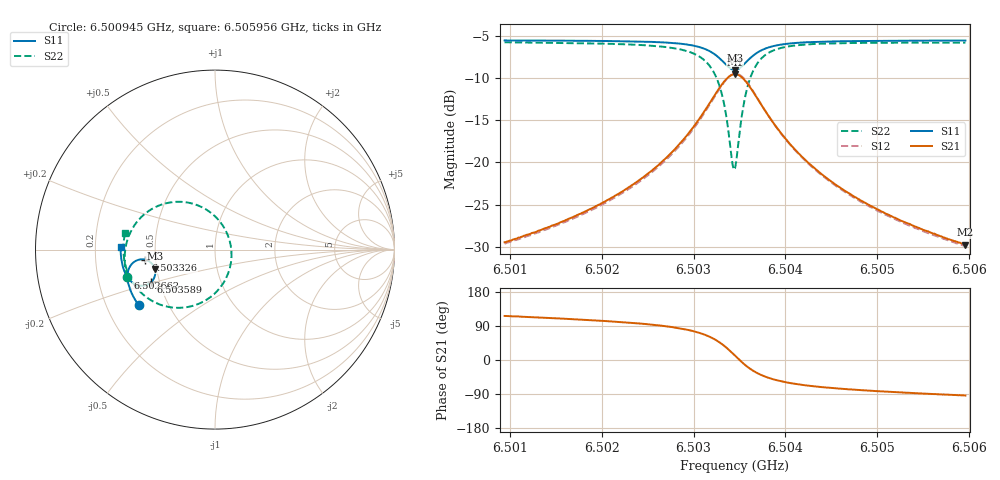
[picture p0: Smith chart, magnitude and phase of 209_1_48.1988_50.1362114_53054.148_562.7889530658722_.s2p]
#  HZ  S  RI  R  50.00
! Rohde & Schwarz Vector Network Analyzer
! Rohde-Schwarz,ZNB20-2Port,1311601062101988,3.16
! Created: UTC 3/20/2024, 11:45:21 AM
! freq[Hz]  re:S11  im:S11  re:S21  im:S21  re:S12  im:S12  re:S22  im:S22
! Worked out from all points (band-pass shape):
!   401 points, 6.500945 GHz to 6.505956 GHz, reference 50 ohm
!   highest |S21| = -9.57 dB at 6.503451 GHz (marker M1); lowest = -29.8 dB at 6.505956 GHz (marker M2)
!   |S21| within 3 dB of the highest: 6.503199 GHz to 6.503702 GHz (502.3 kHz wide, 0.00772 % of centre)
!   lowest |S11| = -9.1 dB at 6.503451 GHz (marker M3), VSWR 2.09, Z = 24.4 - j5.92 ohm
!   |S11| at or under -10 dB: nowhere
!   |S22| runs from -20.9 to -5.8 dB; largest |S21 - S12| = 0.012
!   S11 on the Smith chart (normalised r, x): 6.500945 GHz: 0.34, -0.29; 6.502662 GHz: 0.33, -0.14; 6.503326 GHz: 0.44, -0.06; 6.503589 GHz: 0.45, -0.19; 6.505956 GHz: 0.31, +0.01
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6.5009455e9  -0.4262 -0.3093  -0.0149 0.0302  -0.0131 0.0302  -0.4899 -0.1544
6.5017848e9  -0.4623 -0.2471  -0.0143 0.0481  -0.0118 0.0476  -0.5029 -0.0653
6.5022483e9  -0.4785 -0.2061  -0.0114 0.0676  -0.0082 0.0664  -0.4997 0.00066
6.5026241e9  -0.4871 -0.1644  -0.0022 0.0971  0.00154 0.0947  -0.48 0.0762
6.5026617e9  -0.4878 -0.1596  -0.000376 0.1013  0.00343 0.0988  -0.4762 0.0857
6.5029372e9  -0.4835 -0.1165  0.0267 0.144  0.0303 0.1396  -0.42 0.1718
6.5031252e9  -0.4619 -0.0785  0.0813 0.1864  0.0838 0.1801  -0.3153 0.2444
6.5032379e9  -0.429 -0.0579  0.1512 0.2038  0.152 0.1974  -0.1895 0.2663
6.5033256e9  -0.3882 -0.0564  0.2313 0.1869  0.2317 0.1818  -0.0512 0.2245
6.5034133e9  -0.3462 -0.0847  0.3082 0.1136  0.3107 0.1089  0.0712 0.0804
6.5034383e9  -0.3384 -0.0987  0.3214 0.0826  0.3245 0.0771  0.0879 0.0216
6.5034509e9  -0.3357 -0.1062  0.3255 0.066  0.329 0.06  0.0915 -0.00916
6.5034759e9  -0.3328 -0.1221  0.3291 0.0321  0.3327 0.0248  0.0891 -0.0712
6.5035385e9  -0.3401 -0.1596  0.3103 -0.0465  0.3125 -0.0567  0.032 -0.2075
6.5035887e9  -0.3567 -0.1816  0.2765 -0.0921  0.2759 -0.1035  -0.0453 -0.2785
6.5037014e9  -0.4014 -0.201  0.1914 -0.1367  0.1858 -0.1464  -0.2176 -0.324
6.5038642e9  -0.448 -0.1914  0.109 -0.1334  0.102 -0.1384  -0.3656 -0.2766
6.5040396e9  -0.4753 -0.17  0.0643 -0.113  0.058 -0.1153  -0.4381 -0.2111
6.5042902e9  -0.4961 -0.1401  0.0341 -0.0884  0.0293 -0.0889  -0.4816 -0.1385
6.5046785e9  -0.512 -0.0996  0.0145 -0.0645  0.0113 -0.064  -0.5045 -0.0615
6.5051295e9  -0.521 -0.058  0.00502 -0.0484  0.00276 -0.0477  -0.5103 0.00215
6.5059563e9  -0.526 0.0122  -0.00215 -0.0324  -0.00335 -0.0317  -0.5025 0.0901
